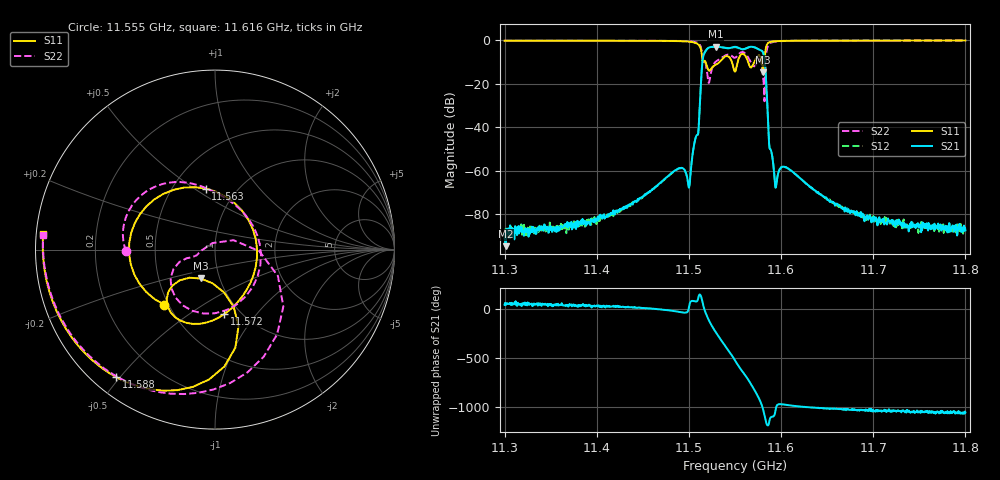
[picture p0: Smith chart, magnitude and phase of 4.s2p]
# Hz S DB R 50
! Planar, S50244, 24171007, 25.4.1/6
! Date: 15.10.2025 10:24:55
! Data: Format (Calibration Info)
! Freq	S11:dB/Ang(F2)	S21:dB/Ang(F2)	S12:dB/Ang(F2)	S22:dB/Ang(F2)
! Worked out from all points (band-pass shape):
!   1001 points, 11.3 GHz to 11.8 GHz, reference 50 ohm
!   highest |S21| = -3.08 dB at 11.529 GHz (marker M1); lowest = -94.7 dB at 11.301 GHz (marker M2)
!   |S21| within 3 dB of the highest: 11.517 GHz to 11.581 GHz (63.95 MHz wide, 0.554 % of centre)
!   lowest |S11| = -14.9 dB at 11.581 GHz (marker M3), VSWR 1.44, Z = 40.6 - j13.5 ohm
!   |S11| at or under -10 dB: 11.51778 GHz to 11.53356 GHz (15.78 MHz wide, 0.137 % of centre); 11.5465 GHz to 11.55297 GHz (6.47 MHz wide, 0.056 % of centre); 11.56413 GHz to 11.57105 GHz (6.914 MHz wide, 0.0598 % of centre)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
!   |S22| runs from -28.1 to -0.2 dB; largest |S21 - S12| = 0.015
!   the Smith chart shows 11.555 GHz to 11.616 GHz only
!   S11 on the Smith chart (normalised r, x): 11.555 GHz: 0.47, -0.35; 11.563 GHz: 0.72, +0.56; 11.572 GHz: 0.84, -0.70; 11.588 GHz: 0.07, -0.49; 11.616 GHz: 0.02, +0.05
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1.13e10  -0.32 144.8  -91.21 40.4  -86.74 43.4  -0.32 142.8
1.1301e10  -0.32 144.6  -94.73 34.4  -89.71 41.5  -0.31 142.6
1.13835e10  -0.33 126.0  -84.49 37.8  -84.67 26.3  -0.32 125.4
1.1467e10  -0.38 85.0  -66.37 -6.3  -66.27 -5.9  -0.35 90.3
1.15e10  -0.76 18.7  -67.88 10.8  -67.93 12.2  -0.61 41.8
1.15105e10  -2.18 -61.3  -40.88 122.8  -40.84 123.8  -1.56 -10.7
1.15165e10  -9.55 -132.3  -6.31 1.4  -6.20 1.3  -9.19 -49.9
1.15215e10  -13.99 149.6  -3.54 -115.6  -3.52 -116.0  -19.75 174.5
1.1529e10  -11.36 39.9  -3.08 121.9  -3.09 121.7  -10.02 20.9
1.1538e10  -8.01 -122.2  -3.56 -2.3  -3.48 -2.4  -7.49 -70.6
1.15445e10  -8.25 145.9  -3.70 -87.5  -3.69 -88.6  -6.85 -134.1
1.155e10  -14.61 4.1  -3.14 -167.0  -3.30 -167.6  -8.15 -160.7
1.1555e10  -7.59 -132.7  -3.88 119.1  -3.95 119.4  -6.10 -179.0
1.15635e10  -9.27 98.6  -3.54 8.1  -3.62 7.9  -7.52 116.7
1.15725e10  -8.78 -82.1  -3.58 -132.8  -3.57 -132.3  -11.46 -19.1
1.15805e10  -14.90 -116.5  -5.82 51.8  -5.86 51.9  -17.58 -161.9
1.1588e10  -0.93 -127.8  -50.10 -39.7  -50.02 -39.6  -1.52 -107.1
1.15945e10  -0.53 -152.3  -67.54 69.8  -67.25 68.4  -0.69 -144.2
1.16155e10  -0.34 174.8  -61.59 87.2  -61.75 87.2  -0.35 175.2
1.16335e10  -0.30 160.8  -67.91 72.4  -68.22 71.9  -0.30 160.0
1.1717e10  -0.25 129.9  -83.29 54.9  -82.92 37.6  -0.23 128.5
1.18e10  -0.22 112.5  -87.48 21.5  -88.13 21.3  -0.21 111.7
